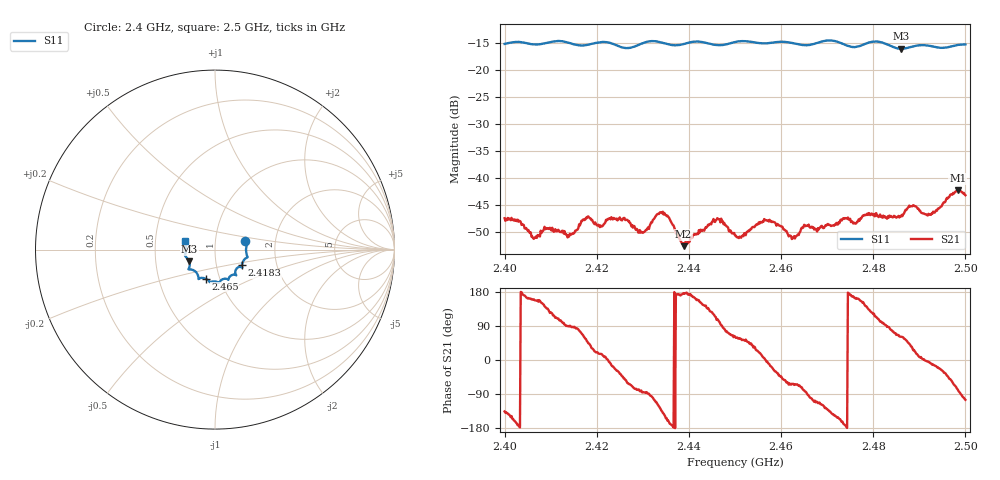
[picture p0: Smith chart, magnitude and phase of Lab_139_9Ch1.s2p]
# Hz S RI R 50
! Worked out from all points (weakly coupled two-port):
!   601 points, 2.4 GHz to 2.5 GHz, reference 50 ohm
!   highest |S21| = -42.30 dB at 2.4983 GHz (marker M1); lowest = -52.6 dB at 2.4388 GHz (marker M2)
!   lowest |S11| = -16.0 dB at 2.486 GHz (marker M3), VSWR 1.37, Z = 37.2 - j4.96 ohm
!   |S11| at or under -10 dB: start of sweep to end of sweep
!   S12 and S22 are empty: the file has one direction only
!   S11 on the Smith chart (normalised r, x): 2.4 GHz: 1.40, +0.13; 2.4183 GHz: 1.33, -0.24; 2.465 GHz: 0.86, -0.29; 2.5 GHz: 0.71, +0.07
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2.4e9  0.169 0.0459  -0.00304 -0.00295  0 0  0 0
2.4065e9  0.1729 0.00294  -0.00259 0.00107  0 0  0 0
2.409e9  0.1763 -0.0272  -0.00251 0.00225  0 0  0 0
2.414167e9  0.1715 -0.0481  -2.7e-05 0.00304  0 0  0 0
2.416667e9  0.1549 -0.0684  0.00135 0.00377  0 0  0 0
2.418333e9  0.1498 -0.0868  0.00315 0.00293  0 0  0 0
2.43e9  0.1139 -0.1369  0.000258 -0.00309  0 0  0 0
2.433333e9  0.1168 -0.1412  -0.00227 -0.00406  0 0  0 0
2.435333e9  0.1052 -0.1389  -0.00422 -0.00152  0 0  0 0
2.438833e9  0.0783 -0.1559  -0.00233 0.000146  0 0  0 0
2.446167e9  0.0516 -0.1628  -0.00132 0.00403  0 0  0 0
2.45e9  0.0253 -0.1807  0.00137 0.00259  0 0  0 0
2.456667e9  -0.00707 -0.1771  0.00405 -2.92e-05  0 0  0 0
2.4625e9  -0.0341 -0.1749  0.00125 -0.00248  0 0  0 0
2.465e9  -0.0527 -0.162  0.000641 -0.00362  0 0  0 0
2.466667e9  -0.0713 -0.1575  -0.000742 -0.00346  0 0  0 0
2.483333e9  -0.142 -0.0956  0.000198 0.00427  0 0  0 0
2.486e9  -0.1437 -0.0652  0.00209 0.00386  0 0  0 0
2.488333e9  -0.1589 -0.0444  0.00447 0.00317  0 0  0 0
2.492333e9  -0.1659 -0.0253  0.00454 -0.00061  0 0  0 0
2.498333e9  -0.1666 0.0386  0.00162 -0.0075  0 0  0 0
2.5e9  -0.1666 0.0471  -0.0018 -0.00668  0 0  0 0
